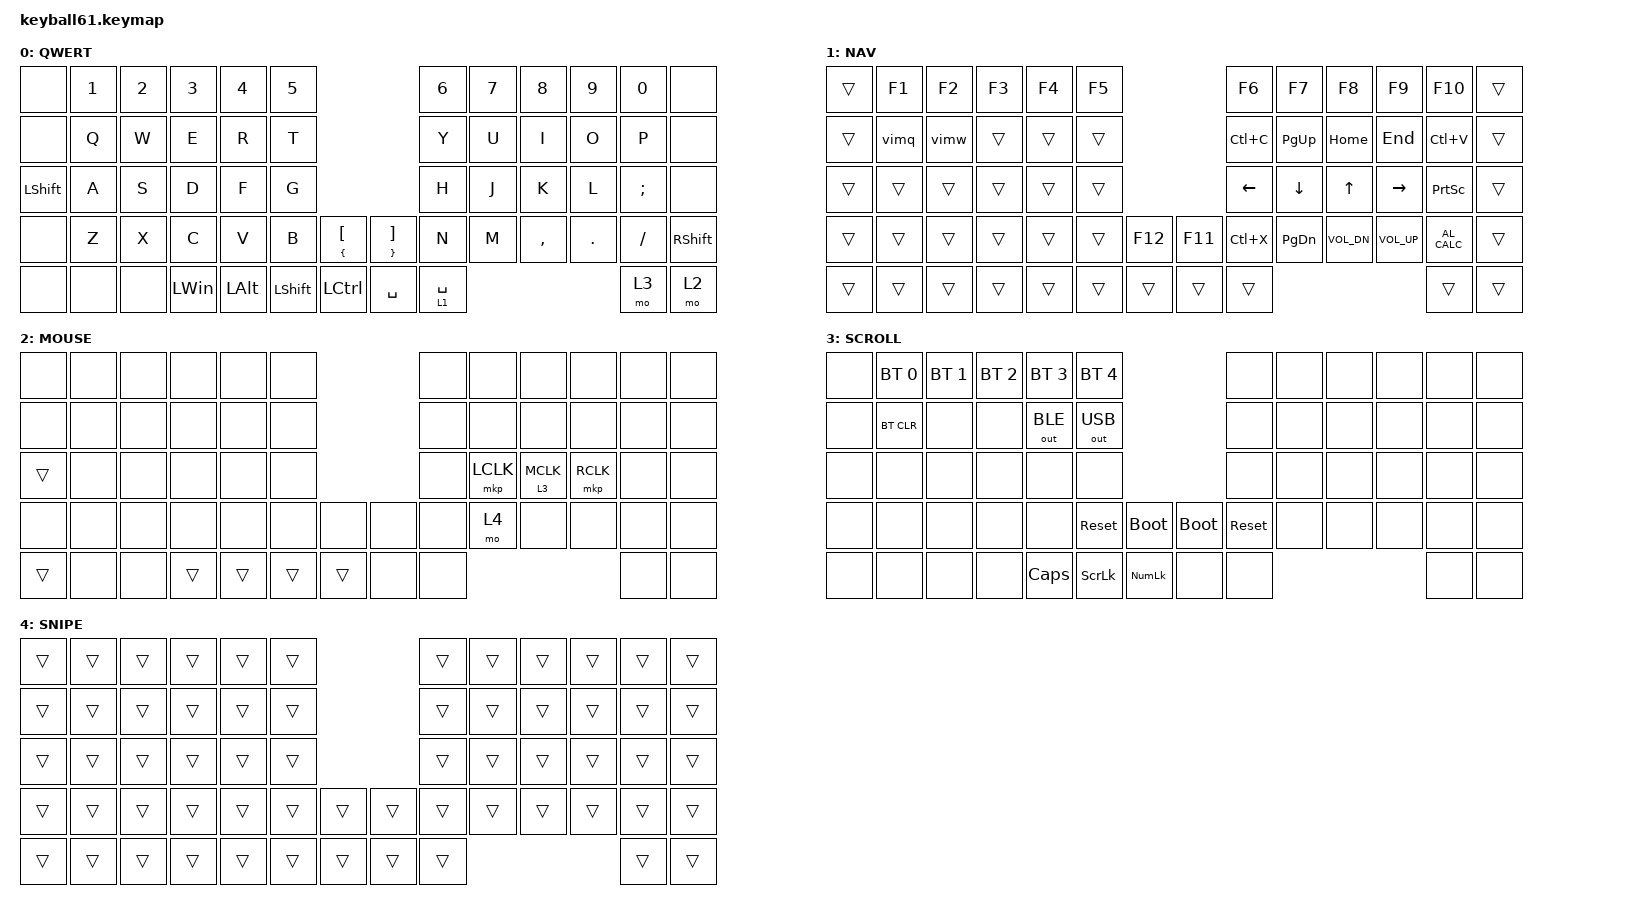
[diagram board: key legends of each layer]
#define DEF     0
#define NAV     1
#define MOUSE   2
#define SCROLL  3
#define SNIPE   4

#include <behaviors/mouse_keys.dtsi>
#include <behaviors.dtsi>
#include <dt-bindings/zmk/bt.h>
#include <dt-bindings/zmk/keys.h>
#include <dt-bindings/zmk/mouse.h>
#include <dt-bindings/zmk/outputs.h>

#include "zmk-helpers/helper.h"
#include "combos.dtsi"
#include "macros.dtsi"

#define ___ &trans
#define xxx &none

&lt {
    tapping-term-ms = <240>;
    flavor = "balanced";
    quick-tap-ms = <150>;
};

/ {
    behaviors {
        lmc: layer_mouse_click {
            compatible = "zmk,behavior-hold-tap";
            #binding-cells = <2>;
            flavor = "tap-preferred";
            tapping-term-ms = <200>;
            bindings = <&mo>, <&mkp>;
            display-name = "Layer-Mouse-Click";
        };
    };
};

&mt {
    tapping-term-ms = <200>;
    flavor = "tap-preferred";
    quick-tap-ms = <150>;
};

/ {
    keymap {
        compatible = "zmk,keymap";

        default_layer {
            label = "QWERT";
            bindings = <
xxx        &kp N1  &kp N2  &kp N3    &kp N4    &kp N5                                   &kp N6       &kp N7  &kp N8     &kp N9   &kp N0    xxx
xxx        &kp Q   &kp W   &kp E     &kp R     &kp T                                    &kp Y        &kp U   &kp I      &kp O    &kp P     xxx
&kp LSHFT  &kp A   &kp S   &kp D     &kp F     &kp G                                    &kp H        &kp J   &kp K      &kp L    &kp SEMI  xxx
xxx        &kp Z   &kp X   &kp C     &kp V     &kp B      &mt LBRC LBKT  &mt RBRC RBKT  &kp N        &kp M   &kp COMMA  &kp DOT  &kp FSLH  &kp RSHFT
xxx        xxx     xxx     &kp LWIN  &kp LALT  &kp LSHFT  &kp LCTRL      &kp SPACE      &lt 1 SPACE                              &mo 3     &mo 2
            >;
        };

        nav_layer {
            label = "NAV";
            bindings = <
___  &kp F1  &kp F2  &kp F3  &kp F4  &kp F5                    &kp F6     &kp F7     &kp F8        &kp F9        &kp F10        ___
___  &vimq   &vimw   ___     ___     ___                       &kp LC(C)  &kp PG_UP  &kp HOME      &kp END       &kp LC(V)      ___
___  ___     ___     ___     ___     ___                       &kp LEFT   &kp DOWN   &kp UP        &kp RIGHT     &kp PSCRN      ___
___  ___     ___     ___     ___     ___     &kp F12  &kp F11  &kp LC(X)  &kp PG_DN  &kp C_VOL_DN  &kp C_VOL_UP  &kp C_AL_CALC  ___
___  ___     ___     ___     ___     ___     ___      ___      ___                                               ___            ___
            >;
        };

        mouse_layer {
            label = "MOUSE";
            bindings = <
xxx  xxx  xxx  xxx  xxx  xxx            xxx  xxx        xxx          xxx        xxx  xxx
xxx  xxx  xxx  xxx  xxx  xxx            xxx  xxx        xxx          xxx        xxx  xxx
___  xxx  xxx  xxx  xxx  xxx            xxx  &mkp LCLK  &lmc 3 MCLK  &mkp RCLK  xxx  xxx
xxx  xxx  xxx  xxx  xxx  xxx  xxx  xxx  xxx  &mo 4      xxx          xxx        xxx  xxx
___  xxx  xxx  ___  ___  ___  ___  xxx  xxx                                     xxx  xxx
            >;
        };

        scroll_layer {
            label = "SCROLL";
            bindings = <
xxx  &bt BT_SEL 0  &bt BT_SEL 1  &bt BT_SEL 2 &bt BT_SEL 3  &bt BT_SEL 4                            xxx         xxx  xxx  xxx  xxx  xxx
xxx  &bt BT_CLR    xxx           xxx          &out OUT_BLE  &out OUT_USB                            xxx         xxx  xxx  xxx  xxx  xxx
xxx  xxx           xxx           xxx          xxx           xxx                                     xxx         xxx  xxx  xxx  xxx  xxx
xxx  xxx           xxx           xxx          xxx           &sys_reset    &bootloader  &bootloader  &sys_reset  xxx  xxx  xxx  xxx  xxx
xxx  xxx           xxx           xxx          &kp CAPS      &kp SLCK      &kp KP_NUM   xxx          xxx                        xxx  xxx
            >;
        };

        snipe_layer {
            label = "SNIPE";
            bindings = <
___  ___  ___  ___  ___  ___            ___  ___  ___  ___  ___  ___
___  ___  ___  ___  ___  ___            ___  ___  ___  ___  ___  ___
___  ___  ___  ___  ___  ___            ___  ___  ___  ___  ___  ___
___  ___  ___  ___  ___  ___  ___  ___  ___  ___  ___  ___  ___  ___
___  ___  ___  ___  ___  ___  ___  ___  ___                 ___  ___
            >;
        };
    };
};
